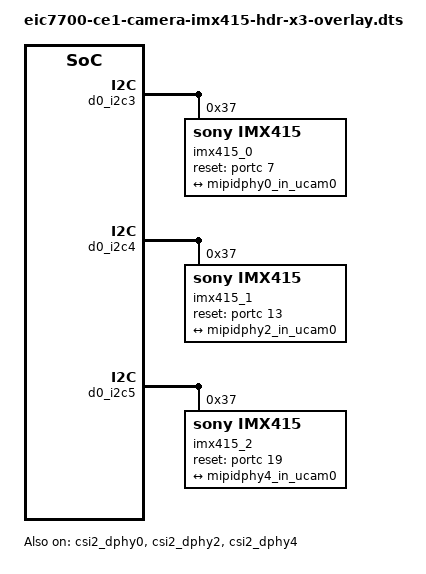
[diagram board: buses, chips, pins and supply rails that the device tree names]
/dts-v1/;
/plugin/;

/ {
    fragment@0 {
		target =  <&imx219_0>;
		__overlay__ { 
			status = "disabled";
		};
	};

	fragment@1 {
		target =  <&imx219_1>;
		__overlay__ { 
			status = "disabled";
		};
	};

    fragment@2 {
		target =  <&imx219_2>;
		__overlay__ { 
			status = "disabled";
		};
	};

	fragment@3 { 
		target = <&mipidphy0_in_ucam0>;
		__overlay__ {
			remote-endpoint = <&imx415_out0>;
			data-lanes = <1 2 3 4>;
		};
	};

	fragment@4 {
		target = <&mipidphy2_in_ucam0>;
		__overlay__ {
			remote-endpoint = <&imx415_out1>;
			data-lanes = <1 2 3 4>;
		};
	};

	fragment@5 {
		target = <&mipidphy4_in_ucam0>;
		__overlay__ {
			remote-endpoint = <&imx415_out2>;
			data-lanes = <1 2 3 4>;
		};
	};

	fragment@6 {
		target = <&csi2_dphy0>;
		__overlay__ {
			status = "okay";
		};
	};

	fragment@7 {
		target = <&csi2_dphy2>;
		__overlay__ {
			status = "okay";
		};
	};

	fragment@8 {
		target = <&csi2_dphy4>;
		__overlay__ {
			status = "okay";
		};
	};

	fragment@9 {
		target = <&d0_i2c3>;
		__overlay__ {
			#address-cells = <1>;
			#size-cells = <0>;
			imx415_0:imx415_0@37 {
				compatible = "sony,imx415";
				reg = <0x37>;
				clock-names="inck";
				clocks = <&d0_clock 0x244>;
				assigned-clocks = <&d0_clock 0x244>;
				assigned-clock-rates = <37125000>;
				pinctrl-names = "default";
				pinctrl-0 = <&pinctrl_gpio71_default>;
				reset-gpio = <&portc 7 0>;
                eswin,camera-hdr-mode = <2>;
				status = "okay";
				port {
					imx415_out0: endpoint {
						remote-endpoint = <&mipidphy0_in_ucam0>;
						data-lanes = <1 2 3 4>;
						link-frequencies = /bits/ 64 <742500000>;
					};
				};
			};
		};
	};

	fragment@10 {
		target = <&d0_i2c4>;
		__overlay__ {
			#address-cells = <1>;
			#size-cells = <0>;
			imx415_1:imx415_1@37 {
				compatible = "sony,imx415";
				reg = <0x37>;
				clock-names="inck";
				clocks = <&d0_clock 0x244>;
				assigned-clocks = <&d0_clock 0x244>;
				assigned-clock-rates = <37125000>;
				pinctrl-names = "default";
				pinctrl-0 = <&pinctrl_gpio77_default>;
				reset-gpio = <&portc 13 0>;
                eswin,camera-hdr-mode = <2>;
				status = "okay";
				port {
					imx415_out1: endpoint {
						remote-endpoint = <&mipidphy2_in_ucam0>;
						data-lanes = <1 2 3 4>;
						link-frequencies = /bits/ 64 <742500000>;
					};
				};
			};
		};
	};

	fragment@11 {
		target = <&d0_i2c5>;
		__overlay__ {
			#address-cells = <1>;
			#size-cells = <0>;
			imx415_2:imx415_2@37 {
				compatible = "sony,imx415";
				reg = <0x37>;
				clock-names="inck";
				clocks = <&d0_clock 0x244>;
				assigned-clocks = <&d0_clock 0x244>;
				assigned-clock-rates = <37125000>;
				pinctrl-names = "default";
				pinctrl-0 = <&pinctrl_gpio83_default>;
				reset-gpio = <&portc 19 0>;
                eswin,camera-hdr-mode = <2>;
				status = "okay";
				port {
					imx415_out2: endpoint {
						remote-endpoint = <&mipidphy4_in_ucam0>;
						data-lanes = <1 2 3 4>;
						link-frequencies = /bits/ 64 <742500000>;
					};
				};
			};
		};
	};

    fragment@12 {
		target = <&mipi_csi2_0>;
		__overlay__ {
			eswin,csi-hdr-mode = <2>;
		};
	};

	fragment@13 {
		target = <&mipi_csi2_2>;
		__overlay__ {
			eswin,csi-hdr-mode = <2>;
		};
	};

    fragment@14 {
		target = <&mipi_csi2_4>;
		__overlay__ {
			eswin,csi-hdr-mode = <2>;
		};
	};

	fragment@15 {
		target = <&dvp2axi_mipi_lvds0>;
		__overlay__ {
			eswin,dvp2axi-hdr-mode = <2>;
		};
	};

	fragment@16 {
		target = <&dvp2axi_mipi_lvds1>;
		__overlay__ {
			eswin,dvp2axi-hdr-mode = <2>;
		};
	};

	fragment@17 {
		target = <&dvp2axi_mipi_lvds2>;
		__overlay__ {
			eswin,dvp2axi-hdr-mode = <2>;
		};
	};

	fragment@18 {
		target = <&dvp2axi_mipi_lvds3>;
		__overlay__ {
			eswin,dvp2axi-hdr-mode = <2>;
		};
	};

	fragment@19 {
		target = <&dvp2axi_mipi_lvds4>;
		__overlay__ {
			eswin,dvp2axi-hdr-mode = <2>;
		};
	};

	fragment@20 {
		target = <&dvp2axi_mipi_lvds5>;
		__overlay__ {
			eswin,dvp2axi-hdr-mode = <2>;
		};
	};
};

